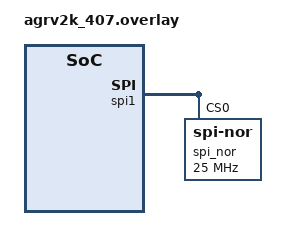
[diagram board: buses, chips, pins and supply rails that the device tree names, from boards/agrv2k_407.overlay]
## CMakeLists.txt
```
# SPDX-License-Identifier: Apache-2.0

cmake_minimum_required(VERSION 3.28.0)

find_package(Zephyr REQUIRED HINTS $ENV{ZEPHYR_BASE})
project(spi_nor_flash LANGUAGES C)

target_sources(app PRIVATE src/main.c)
```

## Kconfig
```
# Config options for the spi_nor_flash sample application

# Copyright (c) 2026 AgRV Contributors
# SPDX-License-Identifier: Apache-2.0

mainmenu "AgRV2K Zephyr spi-nor sample"

config APP_SPI_NOR_SCAN
	bool "Scan the whole part at the end (read-only)"
	default y
	help
	  Read every 256-byte page of the part and report how much of it
	  differs from the erase value. Read-only, but it is 8192 transfers.

config APP_SPI_NOR_WRITE_TEST
	bool "Erase and rewrite a sector through the flash API"
	default n
	help
	  DESTRUCTIVE. Uses flash_erase() + flash_write() on one 4 KiB sector
	  and reads every byte back. This is the path that hands the SPI
	  driver a two-buffer TX list (command+address, then the data), i.e.
	  the engine's TX DMA with the driver's bounce buffer.

config APP_SPI_NOR_WRITE_OFFSET
	hex "Sector that APP_SPI_NOR_WRITE_TEST erases and rewrites"
	default 0x0
	help
	  The default is the first sector -- the boot vector area of a part
	  the BOOT0/PIN_94 strap can boot from. Change it if that matters.

config APP_SPI_NOR_KEEP_PROGRAMMED
	bool "Leave the written data in the sector instead of erasing it again"
	default n
	help
	  Skip the write test's final erase, so another tool can read the
	  sector and see exactly what this path put there.

source "Kconfig.zephyr"
```

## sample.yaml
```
# SPDX-License-Identifier: Apache-2.0
sample:
  name: spi_nor_flash
  description: |
    Zephyr SPI NOR flash driver over the AgRV2K SPI controller: JEDEC ID
    check plus 256-byte page reads through the engine's RX DMA. Needs a
    bitstream that routes the controller straight to the flash pins, so the
    case is build_only.
tests:
  sample.spi_nor_flash.agm_agrv2k_407:
    build_only: true
    platform_allow:
      - agrv2k_407
    integration_platforms:
      - agrv2k_407
    tags:
      - ci_build
      - hal_ag32
```

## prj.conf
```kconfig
# SPDX-License-Identifier: Apache-2.0
CONFIG_SERIAL=y
CONFIG_UART_CONSOLE=y
CONFIG_PRINTK=y
CONFIG_STDOUT_CONSOLE=y
CONFIG_XIP=y

# The Zephyr SPI NOR driver sits on top of the AgRV2K SPI driver.
CONFIG_SPI=y
CONFIG_FLASH=y

# The flash driver reports why it refuses to come up (JEDEC ID mismatch,
# failed command, ...) through the log.
CONFIG_LOG=y
CONFIG_LOG_MODE_IMMEDIATE=y
# The layout page size is what flash_erase()/flash_write() are aligned to;
# 4 KiB is this part's smallest erase (0x20 sector erase) and what the write
# test wants. The driver's own erase types come from its SFDP or, here, the
# minimal table, not from this value.
CONFIG_SPI_NOR_FLASH_LAYOUT_PAGE_SIZE=4096
CONFIG_FLASH_PAGE_LAYOUT=y

# Page reads go through the engine's RX DMA path.
CONFIG_DMA=y
```

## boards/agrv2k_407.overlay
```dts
/* SPDX-License-Identifier: Apache-2.0 */
/*
 * The on-board SPI NOR, driven by the Zephyr spi-nor flash driver through
 * the AgRV2K SPI controller.
 *
 * This needs a bitstream that routes the controller straight to the pins
 * (the vendor stock one routes SPI1 there); with the CPLD full-duplex
 * patch MISO never returns to the controller, so spi-nor cannot work on
 * such a bitstream.
 *
 * The part does not implement SFDP, so the driver synthesizes a minimal
 * configuration from `jedec-id` and `size` (CONFIG_SPI_NOR_SFDP_MINIMAL).
 */
&spi1 {
	status = "okay";

	spi_nor: flash@0 {
		compatible = "jedec,spi-nor";
		reg = <0>;
		/* SYSCLK/4: fast enough for a whole-flash scan, well inside what
		 * the part and the pin routing tolerate. */
		spi-max-frequency = <25000000>;
		jedec-id = [68 40 15];
		/* The binding says "flash capacity in bits": 16 Mbit = 2 MiB
		 * (the RDID capacity code 0x15 is 2^21 bytes). Getting this
		 * wrong by 8x is silent -- the driver just refuses reads past
		 * the (wrong) end with -EINVAL. */
		size = <0x1000000>;
	};
};

&dma0 {
	status = "okay";
};
```

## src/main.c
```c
/*
 * Copyright (c) 2026 AgRV Contributors
 * SPDX-License-Identifier: Apache-2.0
 *
 * spi_nor_flash — the Zephyr SPI NOR flash driver on top of the AgRV2K SPI
 * controller.
 *
 * This is the pay-off of the SPI port: `jedec,spi-nor` talking through
 * spi_agm, whose phase engine does command/response transfers (TX phases,
 * then one RX phase) and streams the RX phase out of its data register with
 * DMA. The part on this board does not implement SFDP, so the devicetree
 * carries `jedec-id` and `size` and the driver runs in its
 * CONFIG_SPI_NOR_SFDP_MINIMAL configuration -- which also means the driver
 * checks the JEDEC ID at init: a wrong ID or a broken RX path fails
 * device_is_ready() instead of silently reading garbage.
 *
 * The read side of the sample is always read-only. With
 * CONFIG_APP_SPI_NOR_WRITE_TEST it also runs flash_erase() + flash_write()
 * over one 4 KiB sector and reads every byte back -- that is the API path
 * whose page program hands the SPI driver a two-buffer TX list, which only
 * works through the engine's TX DMA and the driver's TX bounce buffer.
 */

#include <errno.h>
#include <stdint.h>
#include <string.h>

#include <zephyr/device.h>
#include <zephyr/devicetree.h>
#include <zephyr/drivers/flash.h>
#include <zephyr/kernel.h>
#include <zephyr/sys/printk.h>

#define FLASH_NODE DT_NODELABEL(spi_nor)

#if !DT_NODE_HAS_STATUS(FLASH_NODE, okay)
#error "spi_nor is disabled: build with a board overlay that sets it okay"
#endif

#define READ_LEN 256U
#define WRITE_LEN 4096U

static const struct device *const flash = DEVICE_DT_GET(FLASH_NODE);

#if IS_ENABLED(CONFIG_APP_SPI_NOR_WRITE_TEST)
static uint8_t write_buf[WRITE_LEN] __aligned(4);
#endif

static void print_bytes(const uint8_t *buf, size_t len)
{
	for (size_t i = 0U; i < len; i++) {
		printk(" %02x", buf[i]);
	}
}

int main(void)
{
	static uint8_t page_a[READ_LEN] __aligned(4);
	static uint8_t page_b[READ_LEN] __aligned(4);
	const struct flash_parameters *params;
	struct flash_pages_info page;
	uint32_t erase_value;
	uint32_t non_erase = 0U;
	int ret;

	printk("\nspi_nor_flash: Zephyr spi-nor over AgRV2K SPI\n");

	/* Do not gate on device_is_ready() here: the spi-nor driver runs its
	 * bring-up (including the JEDEC ID check) in the runtime-PM resume
	 * action, which the first API call triggers, so the device may still
	 * report "not ready" right after boot. flash_read() below is that
	 * first call; a wrong bounce buffer, a bad RX path or an ID mismatch
	 * shows up as its error code. */
	params = flash_get_parameters(flash);
	erase_value = params->erase_value;

	printk("spi_nor_flash: %s before first use: %s\n", flash->name,
	       device_is_ready(flash) ? "ready" : "not ready (PM resume pending)");
	printk("spi_nor_flash: write-block-size=%u, erase value=0x%02x\n", params->write_block_size,
	       (unsigned int)erase_value);
	/* devicetree `size` is in bits (jedec,jesd216.yaml). */
	printk("spi_nor_flash: DT size = %u bits = 0x%x bytes\n",
	       (unsigned int)DT_PROP(FLASH_NODE, size), (unsigned int)(DT_PROP(FLASH_NODE, size) / 8));

	ret = flash_get_page_info_by_offs(flash, 0U, &page);
	if (ret < 0) {
		printk("spi_nor_flash: page info failed (%d)\n", ret);
	} else {
		printk("spi_nor_flash: first page: start 0x%08lx, size %u\n",
		       (unsigned long)page.start_offset, page.size);
	}

	/* A 256-byte page read: TX the 0x03 command plus address, then one RX
	 * phase of 256 bytes, which the driver hands to the DMA. */
	ret = flash_read(flash, 0U, page_a, sizeof(page_a));
	if (ret < 0) {
		printk("spi_nor_flash: flash_read(0, %u) failed (%d) -- JEDEC ID mismatch or bus problem\n",
		       READ_LEN, ret);
		goto idle;
	}

	printk("spi_nor_flash: after the first read the device is %s\n",
	       device_is_ready(flash) ? "ready" : "still not ready");

	printk("spi_nor_flash: page@0x0000 =");
	print_bytes(page_a, 8U);
	printk(" ... (%u bytes)\n", READ_LEN);

	for (size_t i = 0U; i < sizeof(page_a); i++) {
		if (page_a[i] != (uint8_t)erase_value) {
			non_erase++;
		}
	}

	printk("spi_nor_flash: %u of %u bytes differ from the erase value%s\n", non_erase, READ_LEN,
	       non_erase == 0U ? " (blank region, as expected)" : "");

	/* Read the same page again and compare: the long RX path has to be
	 * repeatable, and a half-drained DMA would show up here. */
	ret = flash_read(flash, 0U, page_b, sizeof(page_b));
	if (ret < 0) {
		printk("spi_nor_flash: second flash_read failed (%d)\n", ret);
		goto idle;
	}

	if (memcmp(page_a, page_b, sizeof(page_a)) != 0) {
		printk("spi_nor_flash: the two page reads differ -> FAIL\n");
		goto idle;
	}

	printk("spi_nor_flash: two 256-byte page reads agree -> PASS\n");

#if IS_ENABLED(CONFIG_APP_SPI_NOR_WRITE_TEST)
	/* Erase + rewrite through the flash API. flash_write() splits this into
	 * one page program per 256-byte page, each of which reaches spi_agm as
	 * a two-buffer TX list (0x02 + address, then 256 bytes of data). */
	{
		const off_t base = (off_t)CONFIG_APP_SPI_NOR_WRITE_OFFSET;
		size_t mismatches = 0U;
		size_t first_bad = 0U;
		bool have_bad = false;

		printk("spi_nor_flash: write test on 0x%06lx..0x%06lx (DESTRUCTIVE)\n",
		       (unsigned long)base, (unsigned long)(base + WRITE_LEN - 1U));

		ret = flash_erase(flash, base, WRITE_LEN);
		if (ret < 0) {
			printk("spi_nor_flash: flash_erase failed (%d)\n", ret);
			goto idle;
		}

		/* Read back in READ_LEN chunks: one SPI transfer has to fit the
		 * driver's RX bounce buffer (CONFIG_SPI_AGM_RX_BOUNCE_BYTES,
		 * 512 by default), and a single 4 KiB flash_read() would not. */
		for (size_t off = 0U; off < WRITE_LEN; off += READ_LEN) {
			ret = flash_read(flash, base + off, page_a, READ_LEN);
			if (ret < 0) {
				printk("spi_nor_flash: read after erase failed (%d)\n", ret);
				goto idle;
			}

			for (size_t i = 0U; i < READ_LEN; i++) {
				if (page_a[i] != (uint8_t)erase_value) {
					mismatches++;
				}
			}
		}

		printk("spi_nor_flash: erase -> %u of %u bytes differ from 0x%02x -> %s\n",
		       (unsigned int)mismatches, WRITE_LEN, (unsigned int)erase_value,
		       (mismatches == 0U) ? "PASS" : "FAIL");

		if (mismatches != 0U) {
			goto idle;
		}

		for (size_t i = 0U; i < WRITE_LEN; i++) {
			write_buf[i] = (uint8_t)(0xA0U + i);
		}

		ret = flash_write(flash, base, write_buf, WRITE_LEN);
		if (ret < 0) {
			printk("spi_nor_flash: flash_write failed (%d)\n", ret);
			goto idle;
		}

		memset(write_buf, 0, WRITE_LEN);

		mismatches = 0U;
		for (size_t off = 0U; off < WRITE_LEN; off += READ_LEN) {
			ret = flash_read(flash, base + off, page_a, READ_LEN);
			if (ret < 0) {
				printk("spi_nor_flash: read after write failed (%d)\n", ret);
				goto idle;
			}

			for (size_t i = 0U; i < READ_LEN; i++) {
				if (page_a[i] != (uint8_t)(0xA0U + off + i)) {
					if (!have_bad) {
						first_bad = off + i;
						have_bad = true;
					}
					mismatches++;
				}
			}
		}

		if (have_bad) {
			printk("spi_nor_flash: first mismatch at 0x%06lx: wrote 0x%02x read 0x%02x\n",
			       (unsigned long)(base + first_bad), (uint8_t)(0xA0U + first_bad),
			       page_a[first_bad % READ_LEN]);
		}

		printk("spi_nor_flash: write %u bytes, %u bytes read back wrong -> %s\n", WRITE_LEN,
		       (unsigned int)mismatches, (mismatches == 0U) ? "PASS" : "FAIL");

		/* Put the sector back the way the test found it: blank. */
		if (IS_ENABLED(CONFIG_APP_SPI_NOR_KEEP_PROGRAMMED)) {
			printk("spi_nor_flash: keeping the data (CONFIG_APP_SPI_NOR_KEEP_PROGRAMMED)\n");
		} else {
			ret = flash_erase(flash, base, WRITE_LEN);
			printk("spi_nor_flash: final erase -> %s\n",
			       (ret < 0) ? "FAIL" : "done (sector blank again)");
		}
	}
#endif

#if IS_ENABLED(CONFIG_APP_SPI_NOR_SCAN)
	/* Whole-flash scan. The chip's BOOT0/PIN_94 selects between its
	 * internal 1 MB flash and this on-board SPI flash, so the part can
	 * carry a boot image -- the write test above is opt-in for that
	 * reason. Scanning also gives the read path 8192 page reads of work,
	 * and if the part does hold an image, real data instead of the erase
	 * pattern. */
	{
		uint32_t flash_size = DT_PROP(FLASH_NODE, size) / 8U;
		uint32_t non_erase_total = 0U;
		uint32_t first_non_erase = flash_size;
		uint32_t checksum = 0U;
		uint32_t pages = flash_size / READ_LEN;
		uint32_t done = 0U;
		uint32_t scan_start = k_uptime_get_32();

		for (uint32_t i = 0U; i < pages; i++) {
			uint32_t offs = i * READ_LEN;

			ret = flash_read(flash, offs, page_a, READ_LEN);
			if (ret < 0) {
				printk("spi_nor_flash: scan read at 0x%06x failed (%d)\n", offs, ret);
				break;
			}

			done++;

			for (size_t j = 0U; j < READ_LEN; j++) {
				uint8_t v = page_a[j];

				checksum = (checksum << 1) ^ (checksum >> 31) ^ v;

				if (v != (uint8_t)erase_value) {
					non_erase_total++;

					if (first_non_erase == flash_size) {
						first_non_erase = offs + j;
					}
				}
			}
		}

		scan_start = k_uptime_get_32() - scan_start;
		printk("spi_nor_flash: scanned %u of %u pages (%u bytes) at %u Hz in %u ms "
		       "(%u KiB/s)\n",
		       done, pages, flash_size,
		       (unsigned int)DT_PROP(FLASH_NODE, spi_max_frequency),
		       (unsigned int)scan_start,
		       (unsigned int)(((uint64_t)done * READ_LEN) /
				      (scan_start ? scan_start : 1U) * 1000U / 1024U));

		if (done != pages) {
			printk("spi_nor_flash: scan incomplete -> FAIL\n");
			goto idle;
		}
		printk("spi_nor_flash: %u bytes differ from 0x%02x; checksum 0x%08x\n",
		       non_erase_total, (unsigned int)erase_value, checksum);

		if (first_non_erase == flash_size) {
			printk("spi_nor_flash: the whole part is blank\n");
		} else {
			printk("spi_nor_flash: first non-blank byte at 0x%06x\n", first_non_erase);
		}
	}
#endif

idle:
	while (true) {
		k_msleep(1000);
	}
}
```
